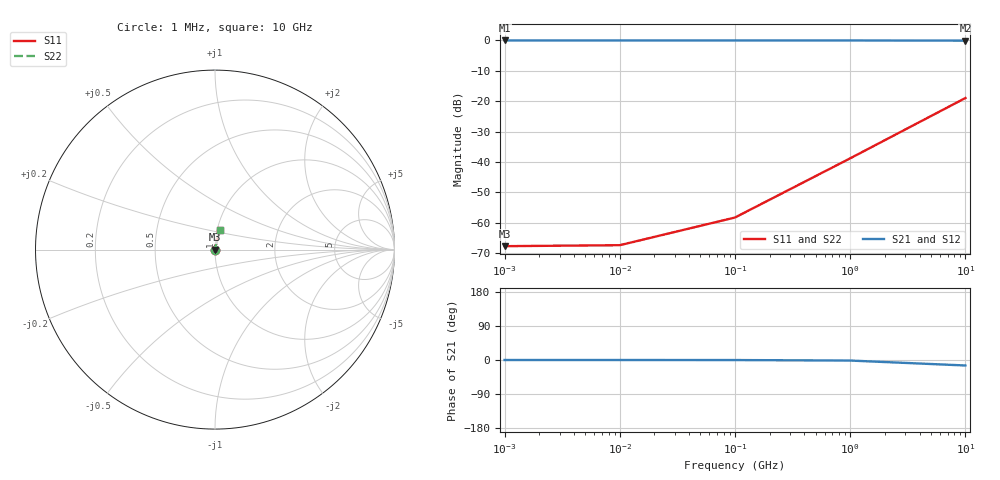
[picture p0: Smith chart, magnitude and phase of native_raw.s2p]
! Sonnet Data File
! From: em Version : 18.53-Lite
! From Project: project
! Data is NOT De-embedded
! Data File Written: 10/07/2026 06:25:49
!< HDATE 10/07/2026 06:25:49
!< MDATE 10/07/2026 06:25:49
# GHZ S RI R 50.00000
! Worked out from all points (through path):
!   5 points, 1 MHz to 10 GHz, reference 50 ohm
!   highest |S21| = 0.00 dB at 1 MHz (marker M1); lowest = -0.1 dB at 10 GHz (marker M2)
!   lowest |S11| = -67.7 dB at 1 MHz (marker M3), VSWR 1.00, Z = 50 + j0.00116 ohm
!   |S11| at or under -10 dB: start of sweep to end of sweep
!   |S22| runs from -67.7 to -19.0 dB; largest |S21 - S12| = 7.2e-13
0.001  0.000412 1.16e-05  0.9996 -2.55e-05  0.9996 -2.55e-05  0.000412 1.16e-05
0.01  0.000412 0.000115  0.9996 -0.000254  0.9996 -0.000254  0.000412 0.000115
0.1  0.000415 0.00115  0.9996 -0.00254  0.9996 -0.00254  0.000415 0.00115
1  0.000709 0.0115  0.9992 -0.0254  0.9992 -0.0254  0.000709 0.0115
10  0.029 0.1091  0.9613 -0.2482  0.9613 -0.2482  0.029 0.1091
